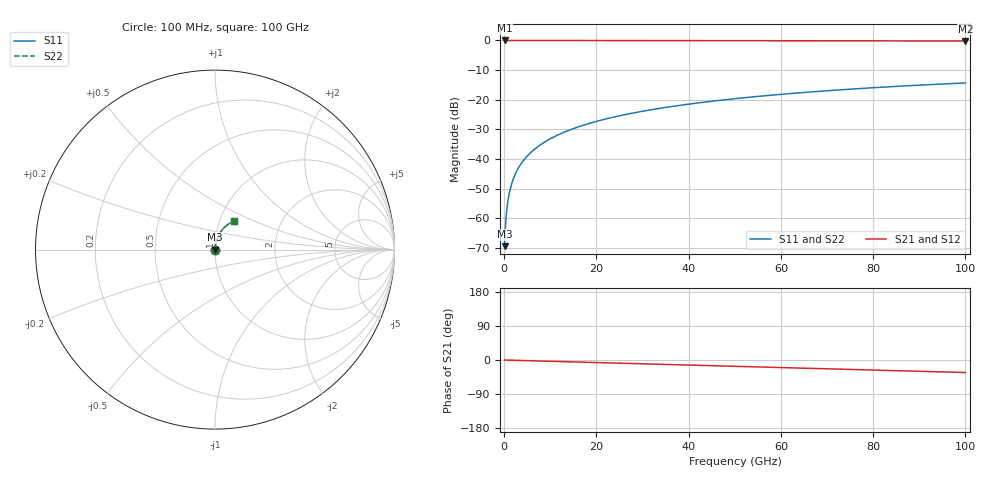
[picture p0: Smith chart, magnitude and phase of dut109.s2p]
! Touchstone file exported from HFSS 2026.1.0
!  File:  C:/ffzhzh/LocalFiles/Ansys_Project_Files/temp_train_TSV_109_1783505901_9504.aedt
!  Generated:  06:19:38 PM Jul  8, 2026
!  Design:  TSV
!  Project:  temp_train_TSV_109_1783505901_9504
! Variables:
!  h_bsmrdl = 2um
!  h_ox = 20um
!  h_rdl = 5um
!  h_sub = 59.43um
!  h_tmrdl = 5um
!  h_tsv = 59.43um
!  h_via = 3um
!  l_bsmrdl = 300um
!  l_sub = 411.9um
!  l_tmrdl = 200um
!  m_sub = 200um
!  pitch = 40um
!  r_tsv = 5.95um
!  s_tmrdl = 10um
!  w_bsmrdl = 18um
!  w_sub = 500um
!  w_tmrdl = 12um
!  x_tsv_center1 = 206um
!  x_tsv_center2 = 524um
!  x_tsv_center3 = 736um
!  x_tsv_center4 = 1054um
!  x_tsv_center5 = 1266um
!  x_tsv_center6 = 1584um
# GHz S MA R 50.000000
! Terminal data exported
! Port[1] = TSV1_1_T1
! Port[2] = TSV1_1_T2
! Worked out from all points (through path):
!   1000 points, 100 MHz to 100 GHz, reference 50 ohm
!   highest |S21| = 0.00 dB at 100 MHz (marker M1); lowest = -0.2 dB at 100 GHz (marker M2)
!   group delay of S21, straight-line fit = 918 fs
!   lowest |S11| = -69.4 dB at 100 MHz (marker M3), VSWR 1.00, Z = 50 + j0.0252 ohm
!   |S11| at or under -10 dB: start of sweep to end of sweep
!   |S22| runs from -69.4 to -14.3 dB; largest |S21 - S12| = 4.1e-15
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0.1  0.0003399 47.9  0.9998 -0.0  0.9998 -0.0  0.0003399 47.9
! Gamma 0 0 0 0
! Port Impedance 50 0 50 0
0.4  0.0009952 74.7  0.9997 -0.1  0.9997 -0.1  0.0009952 74.7
0.7  0.001684 80.1  0.9997 -0.2  0.9997 -0.2  0.001684 80.1
0.8  0.001916 81.0  0.9997 -0.3  0.9997 -0.3  0.001916 81.0
1.1  0.002609 82.6  0.9997 -0.4  0.9997 -0.4  0.002609 82.6
1.4  0.003298 83.4  0.9996 -0.5  0.9996 -0.5  0.003298 83.4
1.9  0.004435 84.1  0.9996 -0.7  0.9996 -0.7  0.004435 84.1
2.4  0.005555 84.3  0.9995 -0.8  0.9995 -0.8  0.005555 84.3
3  0.006882 84.5  0.9994 -1.0  0.9994 -1.0  0.006882 84.5
3.8  0.008631 84.6  0.9993 -1.3  0.9993 -1.3  0.008631 84.6
4.8  0.0108 84.6  0.9992 -1.6  0.9992 -1.6  0.0108 84.6
6  0.01339 84.6  0.9991 -2.0  0.9991 -2.0  0.01339 84.6
8.8  0.0194 84.2  0.9989 -3.0  0.9989 -3.0  0.0194 84.2
12.4  0.02709 83.4  0.9985 -4.2  0.9985 -4.2  0.02709 83.4
16.8  0.03641 82.2  0.998 -5.7  0.998 -5.7  0.03641 82.2
24.2  0.05194 80.1  0.997 -8.2  0.997 -8.2  0.05194 80.1
33.4  0.07096 77.3  0.9956 -11.2  0.9956 -11.2  0.07096 77.3
41.2  0.08676 74.8  0.9941 -13.8  0.9941 -13.8  0.08676 74.8
50.1  0.1044 72.0  0.9922 -16.8  0.9922 -16.8  0.1044 72.0
66.7  0.1359 66.7  0.9881 -22.2  0.9881 -22.2  0.1359 66.7
83.4  0.1654 61.4  0.9833 -27.7  0.9833 -27.7  0.1654 61.3
100  0.1921 56.1  0.9782 -33.1  0.9782 -33.1  0.1921 56.1
